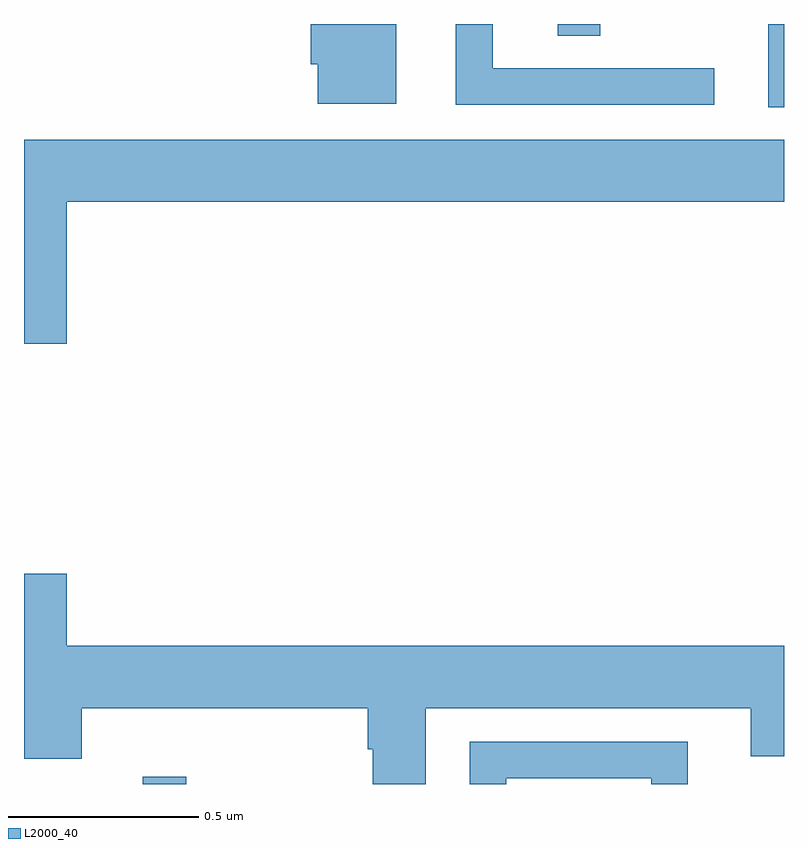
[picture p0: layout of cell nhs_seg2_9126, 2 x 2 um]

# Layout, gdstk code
import gdstk
lib = gdstk.Library(unit=1e-6, precision=1e-09)
def R(c, l, rs):  # rectangles x0, y0, x1, y1
    for r in rs: c.add(gdstk.rectangle(r[:2], r[2:], *l))
def P(c, l, *ps):  # polygons
    for p in ps: c.add(gdstk.Polygon(p, *l))
L2000_40 = (2000, 40)

nhs_seg2_9126 = lib.new_cell('nhs_seg2_9126')
R(nhs_seg2_9126, L2000_40, [(225.312,616.8,225.427,616.819), (226.958,618.581,227,618.8), (226.404,618.769,226.517,618.8)])
P(nhs_seg2_9126, L2000_40, [(226.816,618.684),(226.234,618.684),(226.234,618.8),(226.136,618.8),(226.136,618.588),(226.816,618.588)],
  [(225.979,618.8),(225.754,618.8),(225.754,618.694),(225.773,618.694),(225.773,618.59),(225.979,618.59)],
  [(225.112,618.332),(227,618.332),(227,618.496),(225,618.496),(225,617.958),(225.112,617.958)],
  [(226.057,617),(226.913,617),(226.913,616.873),(227,616.873),(227,617.164),(225.112,617.164),(225.112,617.353),(225,617.353),(225,616.867),(225.152,616.867),(225.152,617),(225.905,617),(225.905,616.891),(225.918,616.891),(225.918,616.8),(226.057,616.8)],
  [(226.269,616.815),(226.65,616.815),(226.65,616.8),(226.747,616.8),(226.747,616.911),(226.173,616.911),(226.173,616.8),(226.269,616.8)])

lib.write_gds('nhs_seg2_9126.gds')
